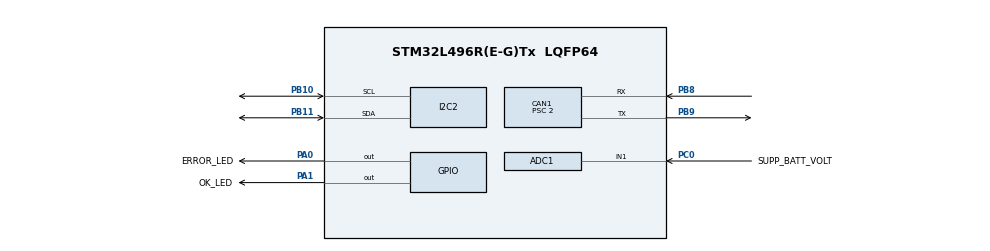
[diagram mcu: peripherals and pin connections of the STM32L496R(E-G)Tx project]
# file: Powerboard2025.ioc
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ADC1.Channel-1\#ChannelRegularConversion=ADC_CHANNEL_1
ADC1.NbrOfConversionFlag=1
ADC1.OffsetNumber-1\#ChannelRegularConversion=ADC_OFFSET_NONE
ADC1.Rank-1\#ChannelRegularConversion=1
ADC1.SamplingTime-1\#ChannelRegularConversion=ADC_SAMPLETIME_2CYCLES_5
ADC1.master=1
CAN1.BS1=CAN_BS1_2TQ
CAN1.CalculateBaudRate=500000
CAN1.CalculateTimeBit=2000
CAN1.CalculateTimeQuantum=500.0
CAN1.Prescaler=2
I2C2.Timing=0x00100D14
Mcu.Family=STM32L4
Mcu.Name=STM32L496R(E-G)Tx
Mcu.Package=LQFP64
NVIC.PriorityGroup=NVIC_PRIORITYGROUP_4
PA0.GPIO_Label=ERROR_LED
PA0.Signal=GPIO_Output
PA1.GPIO_Label=OK_LED
PA1.Signal=GPIO_Output
PB10.Mode=I2C
PB10.Signal=I2C2_SCL
PB11.Mode=I2C
PB11.Signal=I2C2_SDA
PB8.GPIO_PuPd=GPIO_PULLUP
PB8.Mode=CAN_Activate
PB8.Signal=CAN1_RX
PB9.Mode=CAN_Activate
PB9.Signal=CAN1_TX
PC0.GPIO_Label=SUPP_BATT_VOLT
PC0.Signal=ADCx_IN1
ProjectManager.HeapSize=0x200
ProjectManager.StackSize=0x400
ProjectManager.TargetToolchain=STM32CubeIDE
RCC.ADCCLockSelection=RCC_ADCCLKSOURCE_SYSCLK
RCC.ADCFreq_Value=4000000
RCC.HSE_VALUE=8000000
RCC.HSI48_VALUE=48000000
RCC.HSI_VALUE=16000000
RCC.LSE_VALUE=32768
RCC.MSI_VALUE=4000000
RCC.PLLSAI1N=16
RCC.USBFreq_Value=32000000
RCC.VCOOutputFreq_Value=32000000
SH.ADCx_IN1.0=ADC1_IN1,IN1-Single-Ended
board=custom

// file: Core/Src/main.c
/* USER CODE BEGIN Header */
/**
  ******************************************************************************
  * @file           : main.c
  * @brief          : Main program body
  ******************************************************************************
  * @attention
  *
  * Copyright (c) 2025 STMicroelectronics.
  * All rights reserved.
  *
  * This software is licensed under terms that can be found in the LICENSE file
  * in the root directory of this software component.
  * If no LICENSE file comes with this software, it is provided AS-IS.
  *
  ******************************************************************************
  */
/* USER CODE END Header */
#include "main.h"

/* USER CODE BEGIN Includes */

#include "INA226.h"

/* USER CODE END Includes */

ADC_HandleTypeDef hadc1;

CAN_HandleTypeDef hcan1;

I2C_HandleTypeDef hi2c2;

/* USER CODE BEGIN PV */

uint32_t last_toggle_time_heartbeat = 0;
uint32_t last_toggle_time_adc = 0;
INA226_t ina_buck;
INA226_t ina_supp;

CAN_TxHeaderTypeDef tx_header;
uint8_t tx_data[8] = {0};

uint32_t supp_mVolts_reads[20] = {0};
uint8_t supp_mVolts_index = 0;

/* USER CODE END PV */

void SystemClock_Config(void);
static void MX_GPIO_Init(void);
static void MX_CAN1_Init(void);
static void MX_ADC1_Init(void);
static void MX_I2C2_Init(void);

int main(void)
{

  /* MCU Configuration--------------------------------------------------------*/

  /* Reset of all peripherals, Initializes the Flash interface and the Systick. */
  HAL_Init();

  /* Configure the system clock */
  SystemClock_Config();

  /* Initialize all configured peripherals */
  MX_GPIO_Init();
  MX_CAN1_Init();
  MX_ADC1_Init();
  MX_I2C2_Init();
  /* USER CODE BEGIN 2 */
  CAN_FilterTypeDef filter = {0};
    filter.FilterActivation = ENABLE;
    filter.FilterBank = 0;
    filter.FilterFIFOAssignment = CAN_FILTER_FIFO0;
    filter.FilterMode = CAN_FILTERMODE_IDMASK;
    filter.FilterScale = CAN_FILTERSCALE_32BIT;

    // Accept everything for now (good for debugging)
    filter.FilterIdHigh = 0x0000;
    filter.FilterIdLow = 0x0000;
    filter.FilterMaskIdHigh = 0x0000;
    filter.FilterMaskIdLow = 0x0000;

    HAL_CAN_ConfigFilter(&hcan1, &filter);
  HAL_CAN_Start(&hcan1);
  HAL_CAN_ActivateNotification(&hcan1, CAN_IT_RX_FIFO0_MSG_PENDING);

  tx_header.IDE = CAN_ID_STD;
  tx_header.StdId = 3; // example ID
  tx_header.RTR = CAN_RTR_DATA;
  tx_header.DLC = 8; // Data Length Code, number of bytes to send
  tx_data[0] = 3;

  if (INA226_Initialize(&ina_buck, INA226_I2C_ADDR_BUCK, &hi2c2, 10, 20) != HAL_OK) {
    Error_Handler();
  }
  // this is not working for some reason may need to look at solder
  //if (INA226_Initialize(&ina_supp, INA226_I2C_ADDR_SUPP, &hi2c2, 10, 20) != HAL_OK) {
  //    Error_Handler();
  //}

  /* USER CODE END 2 */

  /* Infinite loop */
  while (1)
  {

    /* USER CODE BEGIN 3 */

    // heartbeat every 500ms
    // read adc every 500ms
    // read i2c every 500ms
    // send can message every 500ms

    uint32_t current_time = HAL_GetTick();

    // every 50 ms
    if (current_time - last_toggle_time_adc >= 50) {
      last_toggle_time_adc = current_time;

      // read adc
      uint16_t adc = 0;
      HAL_ADC_Start(&hadc1);
      if (HAL_ADC_PollForConversion(&hadc1, 100) == HAL_OK) {
        adc = HAL_ADC_GetValue(&hadc1);
      }
      HAL_ADC_Stop(&hadc1);
      float voltage = (float)adc * 3.3f / 4095.0f * 6.426f; // * 6.426f is from voltage divider/tolerance stuff idk its just guestimated to be right if that makes sense
      uint32_t mVoltage = (uint32_t)(voltage * 1000); // convert to mV

      supp_mVolts_reads[supp_mVolts_index++] = mVoltage;
    }

    // every 1000ms
    if (current_time - last_toggle_time_heartbeat >= 1000) {
      last_toggle_time_heartbeat = current_time;

      // toggle led
      HAL_GPIO_TogglePin(OK_LED_GPIO_Port, OK_LED_Pin);

      // read i2c
      ina_buck.current = getCurrentAmp(&ina_buck);
      ina_buck.power   = getPowerWatt(&ina_buck);

      //ina_supp.current = getCurrentAmp(&ina_supp);
      //ina_supp.power   = getPowerWatt(&ina_supp);

      // get average adc
      uint32_t sum = 0;
      for (uint8_t i = 0; i < supp_mVolts_index; i++) {
        sum += supp_mVolts_reads[i];
      }
      uint32_t avg_mVoltage = sum / supp_mVolts_index;
      supp_mVolts_index = 0;

      // format in form to be sent over CAN
      tx_data[1] = (avg_mVoltage) & 0xFF;
      tx_data[2] = (avg_mVoltage >> 8) & 0xFF;
      tx_data[3] = (avg_mVoltage >> 16) & 0xFF;
      tx_data[4] = (avg_mVoltage >> 24) & 0xFF;
      tx_data[5] = 0;
      tx_data[6] = 0;
      tx_data[7] = 0;

      // Send CAN message
      uint32_t tx_mailbox;
      if (HAL_CAN_AddTxMessage(&hcan1, &tx_header, tx_data, &tx_mailbox) != HAL_OK) {
        Error_Handler();
      }

    }

  }
  /* USER CODE END 3 */
}

void SystemClock_Config(void)
{
  RCC_OscInitTypeDef RCC_OscInitStruct = {0};
  RCC_ClkInitTypeDef RCC_ClkInitStruct = {0};

  /** Configure the main internal regulator output voltage
  */
  if (HAL_PWREx_ControlVoltageScaling(PWR_REGULATOR_VOLTAGE_SCALE1) != HAL_OK)
  {
    Error_Handler();
  }

  /** Initializes the RCC Oscillators according to the specified parameters
  * in the RCC_OscInitTypeDef structure.
  */
  RCC_OscInitStruct.OscillatorType = RCC_OSCILLATORTYPE_MSI;
  RCC_OscInitStruct.MSIState = RCC_MSI_ON;
  RCC_OscInitStruct.MSICalibrationValue = 0;
  RCC_OscInitStruct.MSIClockRange = RCC_MSIRANGE_6;
  RCC_OscInitStruct.PLL.PLLState = RCC_PLL_NONE;
  if (HAL_RCC_OscConfig(&RCC_OscInitStruct) != HAL_OK)
  {
    Error_Handler();
  }

  /** Initializes the CPU, AHB and APB buses clocks
  */
  RCC_ClkInitStruct.ClockType = RCC_CLOCKTYPE_HCLK|RCC_CLOCKTYPE_SYSCLK
                              |RCC_CLOCKTYPE_PCLK1|RCC_CLOCKTYPE_PCLK2;
  RCC_ClkInitStruct.SYSCLKSource = RCC_SYSCLKSOURCE_MSI;
  RCC_ClkInitStruct.AHBCLKDivider = RCC_SYSCLK_DIV1;
  RCC_ClkInitStruct.APB1CLKDivider = RCC_HCLK_DIV1;
  RCC_ClkInitStruct.APB2CLKDivider = RCC_HCLK_DIV1;

  if (HAL_RCC_ClockConfig(&RCC_ClkInitStruct, FLASH_LATENCY_0) != HAL_OK)
  {
    Error_Handler();
  }
}

static void MX_ADC1_Init(void)
{

  ADC_MultiModeTypeDef multimode = {0};
  ADC_ChannelConfTypeDef sConfig = {0};

  /** Common config
  */
  hadc1.Instance = ADC1;
  hadc1.Init.ClockPrescaler = ADC_CLOCK_ASYNC_DIV1;
  hadc1.Init.Resolution = ADC_RESOLUTION_12B;
  hadc1.Init.DataAlign = ADC_DATAALIGN_RIGHT;
  hadc1.Init.ScanConvMode = ADC_SCAN_DISABLE;
  hadc1.Init.EOCSelection = ADC_EOC_SINGLE_CONV;
  hadc1.Init.LowPowerAutoWait = DISABLE;
  hadc1.Init.ContinuousConvMode = DISABLE;
  hadc1.Init.NbrOfConversion = 1;
  hadc1.Init.DiscontinuousConvMode = DISABLE;
  hadc1.Init.ExternalTrigConv = ADC_SOFTWARE_START;
  hadc1.Init.ExternalTrigConvEdge = ADC_EXTERNALTRIGCONVEDGE_NONE;
  hadc1.Init.DMAContinuousRequests = DISABLE;
  hadc1.Init.Overrun = ADC_OVR_DATA_PRESERVED;
  hadc1.Init.OversamplingMode = DISABLE;
  if (HAL_ADC_Init(&hadc1) != HAL_OK)
  {
    Error_Handler();
  }

  /** Configure the ADC multi-mode
  */
  multimode.Mode = ADC_MODE_INDEPENDENT;
  if (HAL_ADCEx_MultiModeConfigChannel(&hadc1, &multimode) != HAL_OK)
  {
    Error_Handler();
  }

  /** Configure Regular Channel
  */
  sConfig.Channel = ADC_CHANNEL_1;
  sConfig.Rank = ADC_REGULAR_RANK_1;
  sConfig.SamplingTime = ADC_SAMPLETIME_2CYCLES_5;
  sConfig.SingleDiff = ADC_SINGLE_ENDED;
  sConfig.OffsetNumber = ADC_OFFSET_NONE;
  sConfig.Offset = 0;
  if (HAL_ADC_ConfigChannel(&hadc1, &sConfig) != HAL_OK)
  {
    Error_Handler();
  }

}

static void MX_CAN1_Init(void)
{

  hcan1.Instance = CAN1;
  hcan1.Init.Prescaler = 2;
  hcan1.Init.Mode = CAN_MODE_NORMAL;
  hcan1.Init.SyncJumpWidth = CAN_SJW_1TQ;
  hcan1.Init.TimeSeg1 = CAN_BS1_2TQ;
  hcan1.Init.TimeSeg2 = CAN_BS2_1TQ;
  hcan1.Init.TimeTriggeredMode = DISABLE;
  hcan1.Init.AutoBusOff = DISABLE;
  hcan1.Init.AutoWakeUp = DISABLE;
  hcan1.Init.AutoRetransmission = DISABLE;
  hcan1.Init.ReceiveFifoLocked = DISABLE;
  hcan1.Init.TransmitFifoPriority = DISABLE;
  if (HAL_CAN_Init(&hcan1) != HAL_OK)
  {
    Error_Handler();
  }

}

static void MX_I2C2_Init(void)
{

  hi2c2.Instance = I2C2;
  hi2c2.Init.Timing = 0x00100D14;
  hi2c2.Init.OwnAddress1 = 0;
  hi2c2.Init.AddressingMode = I2C_ADDRESSINGMODE_7BIT;
  hi2c2.Init.DualAddressMode = I2C_DUALADDRESS_DISABLE;
  hi2c2.Init.OwnAddress2 = 0;
  hi2c2.Init.OwnAddress2Masks = I2C_OA2_NOMASK;
  hi2c2.Init.GeneralCallMode = I2C_GENERALCALL_DISABLE;
  hi2c2.Init.NoStretchMode = I2C_NOSTRETCH_DISABLE;
  if (HAL_I2C_Init(&hi2c2) != HAL_OK)
  {
    Error_Handler();
  }

  /** Configure Analogue filter
  */
  if (HAL_I2CEx_ConfigAnalogFilter(&hi2c2, I2C_ANALOGFILTER_ENABLE) != HAL_OK)
  {
    Error_Handler();
  }

  /** Configure Digital filter
  */
  if (HAL_I2CEx_ConfigDigitalFilter(&hi2c2, 0) != HAL_OK)
  {
    Error_Handler();
  }

}

static void MX_GPIO_Init(void)
{
  GPIO_InitTypeDef GPIO_InitStruct = {0};

  /* GPIO Ports Clock Enable */
  __HAL_RCC_GPIOC_CLK_ENABLE();
  __HAL_RCC_GPIOA_CLK_ENABLE();
  __HAL_RCC_GPIOB_CLK_ENABLE();

  /*Configure GPIO pin Output Level */
  HAL_GPIO_WritePin(GPIOA, ERROR_LED_Pin|OK_LED_Pin, GPIO_PIN_RESET);

  /*Configure GPIO pins : ERROR_LED_Pin OK_LED_Pin */
  GPIO_InitStruct.Pin = ERROR_LED_Pin|OK_LED_Pin;
  GPIO_InitStruct.Mode = GPIO_MODE_OUTPUT_PP;
  GPIO_InitStruct.Pull = GPIO_NOPULL;
  GPIO_InitStruct.Speed = GPIO_SPEED_FREQ_LOW;
  HAL_GPIO_Init(GPIOA, &GPIO_InitStruct);

}

void Error_Handler(void)
{
  __disable_irq();
  while (1)
  {
  }
}
